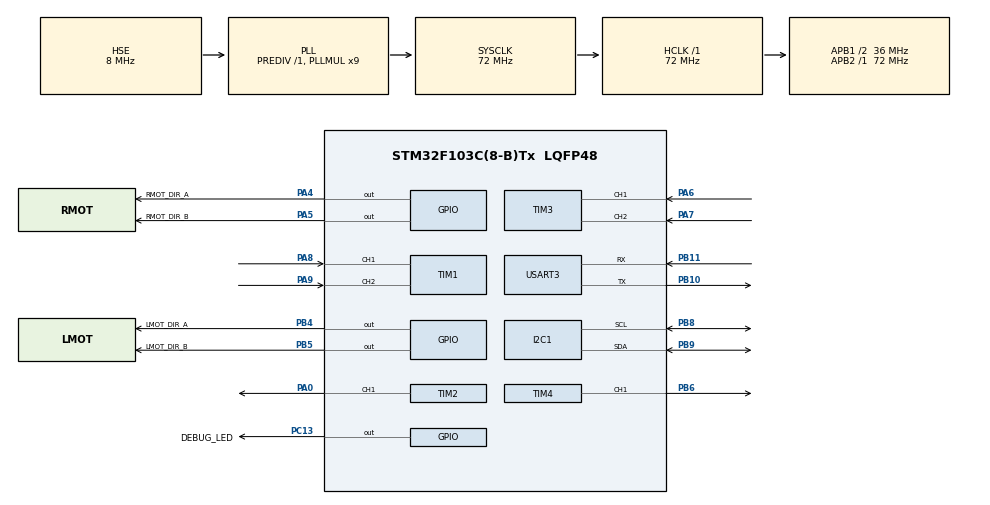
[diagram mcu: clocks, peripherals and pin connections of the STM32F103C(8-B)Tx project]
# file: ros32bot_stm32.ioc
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FREERTOS.Tasks01=defaultTask,8,128,StartDefaultTask,Default,NULL,Dynamic,NULL,NULL;motorControl,32,128,motorControlFunc,Default,NULL,Dynamic,NULL,NULL;uartComms,25,256,uartCommsFunc,Default,NULL,Dynamic,NULL,NULL;gyroTask,15,128,gyroTaskFunc,Default,NULL,Dynamic,NULL,NULL
FREERTOS.configUSE_NEWLIB_REENTRANT=0
Mcu.Family=STM32F1
Mcu.Name=STM32F103C(8-B)Tx
Mcu.Package=LQFP48
NVIC.PriorityGroup=NVIC_PRIORITYGROUP_4
PA0-WKUP.Signal=S_TIM2_CH1_ETR
PA13.Mode=Serial_Wire
PA13.Signal=SYS_JTMS-SWDIO
PA14.Mode=Serial_Wire
PA14.Signal=SYS_JTCK-SWCLK
PA4.GPIO_Label=RMOT_DIR_A
PA4.Signal=GPIO_Output
PA5.GPIO_Label=RMOT_DIR_B
PA5.Signal=GPIO_Output
PA6.Signal=S_TIM3_CH1
PA7.Signal=S_TIM3_CH2
PA8.Signal=S_TIM1_CH1
PA9.Signal=S_TIM1_CH2
PB10.Mode=Asynchronous
PB10.Signal=USART3_TX
PB11.Mode=Asynchronous
PB11.Signal=USART3_RX
PB4.GPIO_Label=LMOT_DIR_A
PB4.Signal=GPIO_Output
PB5.GPIO_Label=LMOT_DIR_B
PB5.Signal=GPIO_Output
PB6.Signal=S_TIM4_CH1
PB8.Mode=I2C
PB8.Signal=I2C1_SCL
PB9.Mode=I2C
PB9.Signal=I2C1_SDA
PC13-TAMPER-RTC.GPIO_Label=DEBUG_LED
PC13-TAMPER-RTC.Signal=GPIO_Output
PD0-OSC_IN.Mode=HSE-External-Oscillator
PD0-OSC_IN.Signal=RCC_OSC_IN
PD1-OSC_OUT.Mode=HSE-External-Oscillator
PD1-OSC_OUT.Signal=RCC_OSC_OUT
ProjectManager.HeapSize=0x200
ProjectManager.StackSize=0x400
ProjectManager.TargetToolchain=STM32CubeIDE
RCC.AHBFreq_Value=72000000
RCC.APB1CLKDivider=RCC_HCLK_DIV2
RCC.APB1Freq_Value=36000000
RCC.APB1TimFreq_Value=72000000
RCC.APB2Freq_Value=72000000
RCC.APB2TimFreq_Value=72000000
RCC.HCLKFreq_Value=72000000
RCC.PLLMUL=RCC_PLL_MUL9
RCC.PLLSourceVirtual=RCC_PLLSOURCE_HSE
RCC.SYSCLKFreq_VALUE=72000000
RCC.SYSCLKSource=RCC_SYSCLKSOURCE_PLLCLK
RCC.USBFreq_Value=72000000
SH.S_TIM1_CH1.0=TIM1_CH1,Encoder_Interface
SH.S_TIM1_CH2.0=TIM1_CH2,Encoder_Interface
SH.S_TIM2_CH1_ETR.0=TIM2_CH1,PWM Generation1 CH1
SH.S_TIM3_CH1.0=TIM3_CH1,Encoder_Interface
SH.S_TIM3_CH2.0=TIM3_CH2,Encoder_Interface
SH.S_TIM4_CH1.0=TIM4_CH1,PWM Generation1 CH1
TIM1.EncoderMode=TIM_ENCODERMODE_TI12
TIM1.IC1Filter=10
TIM2.Channel-PWM\ Generation1\ CH1=TIM_CHANNEL_1
TIM2.Period=35999
TIM3.EncoderMode=TIM_ENCODERMODE_TI12
TIM3.IC1Filter=10
TIM4.Channel-PWM\ Generation1\ CH1=TIM_CHANNEL_1
TIM4.Period=35999
USART3.VirtualMode=VM_ASYNC
VP_FREERTOS_VS_CMSIS_V2.Mode=CMSIS_V2
board=custom

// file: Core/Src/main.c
/* USER CODE BEGIN Header */
/**
  ******************************************************************************
  * @file           : main.c
  * @brief          : Main program body
  ******************************************************************************
  * @attention
  *
  * Copyright (c) 2026 STMicroelectronics.
  * All rights reserved.
  *
  * This software is licensed under terms that can be found in the LICENSE file
  * in the root directory of this software component.
  * If no LICENSE file comes with this software, it is provided AS-IS.
  *
  ******************************************************************************
  */
/* USER CODE END Header */
#include "main.h"
#include "cmsis_os.h"

/* USER CODE BEGIN Includes */
#include <stdio.h>
#include "motor.h"
#include "encoder.h"
#include "mpu6050.h"
#include "SEGGER_RTT.h"
#include "uart_comms.h"
#include "wheel_control.h"
/* USER CODE END Includes */

I2C_HandleTypeDef hi2c1;

TIM_HandleTypeDef htim1;
TIM_HandleTypeDef htim2;
TIM_HandleTypeDef htim3;
TIM_HandleTypeDef htim4;

UART_HandleTypeDef huart3;

/* Definitions for defaultTask */
osThreadId_t defaultTaskHandle;
/* Priority must stay ABOVE gyroTask (osPriorityLow7): gyroTask calls
   HAL_I2C_Mem_Read() with a 100 ms blocking timeout every 5 ms period, so a
   missing or wedged MPU6050 busy-waits the CPU and starves anything below it.
   The logger lives here, so it has to outrank the gyro or the log goes silent. */
const osThreadAttr_t defaultTask_attributes = {
  .name = "defaultTask",
  .stack_size = 128 * 4,
  .priority = (osPriority_t) osPriorityNormal,
};
/* Definitions for motorControl */
osThreadId_t motorControlHandle;
const osThreadAttr_t motorControl_attributes = {
  .name = "motorControl",
  .stack_size = 128 * 4,
  .priority = (osPriority_t) osPriorityAboveNormal,
};
/* Definitions for uartComms */
osThreadId_t uartCommsHandle;
const osThreadAttr_t uartComms_attributes = {
  .name = "uartComms",
  .stack_size = 256 * 4,
  .priority = (osPriority_t) osPriorityNormal1,
};
/* Definitions for gyroTask */
osThreadId_t gyroTaskHandle;
const osThreadAttr_t gyroTask_attributes = {
  .name = "gyroTask",
  .stack_size = 128 * 4,
  .priority = (osPriority_t) osPriorityLow7,
};
/* USER CODE BEGIN PV */
osMutexId_t i2c1MutexHandle;

const osMutexAttr_t i2c1Mutex_attributes = {
  .name = "i2c1Mutex",
  .attr_bits = osMutexPrioInherit,
};
/* USER CODE END PV */

void SystemClock_Config(void);
static void MX_GPIO_Init(void);
static void MX_TIM2_Init(void);
static void MX_TIM3_Init(void);
static void MX_TIM4_Init(void);
static void MX_TIM1_Init(void);
static void MX_I2C1_Init(void);
static void MX_USART3_UART_Init(void);
void StartDefaultTask(void *argument);
void motorControlFunc(void *argument);
void uartCommsFunc(void *argument);
void gyroTaskFunc(void *argument);

int main(void)
{

  /* MCU Configuration--------------------------------------------------------*/

  /* Reset of all peripherals, Initializes the Flash interface and the Systick. */
  HAL_Init();

  /* Configure the system clock */
  SystemClock_Config();

  /* Initialize all configured peripherals */
  MX_GPIO_Init();
  MX_TIM2_Init();
  MX_TIM3_Init();
  MX_TIM4_Init();
  MX_TIM1_Init();
  MX_I2C1_Init();
  MX_USART3_UART_Init();
  /* USER CODE BEGIN 2 */
  setvbuf(stdout, NULL, _IONBF, 0);
  SEGGER_RTT_Init();
  SEGGER_RTT_printf(0, "ros32bot: encoder debug over RTT\n");

  motor_init();
  encoder_init();
  wheel_control_init();
  /* USER CODE END 2 */

  /* Init scheduler */
  osKernelInitialize();

  /* USER CODE BEGIN RTOS_MUTEX */
  /* I2C1 is a shared resource, so its lock belongs to the bus, not a driver. */
  i2c1MutexHandle = osMutexNew(&i2c1Mutex_attributes);
  /* USER CODE END RTOS_MUTEX */

  /* Create the thread(s) */
  /* creation of defaultTask */
  defaultTaskHandle = osThreadNew(StartDefaultTask, NULL, &defaultTask_attributes);

  /* creation of motorControl */
  motorControlHandle = osThreadNew(motorControlFunc, NULL, &motorControl_attributes);

  /* creation of uartComms */
  uartCommsHandle = osThreadNew(uartCommsFunc, NULL, &uartComms_attributes);

  /* creation of gyroTask */
  gyroTaskHandle = osThreadNew(gyroTaskFunc, NULL, &gyroTask_attributes);

  /* Start scheduler */
  osKernelStart();

  /* We should never get here as control is now taken by the scheduler */

  /* Infinite loop */
  while (1)
  {

  }
}

void SystemClock_Config(void)
{
  RCC_OscInitTypeDef RCC_OscInitStruct = {0};
  RCC_ClkInitTypeDef RCC_ClkInitStruct = {0};

  /** Initializes the RCC Oscillators according to the specified parameters
  * in the RCC_OscInitTypeDef structure.
  */
  RCC_OscInitStruct.OscillatorType = RCC_OSCILLATORTYPE_HSE;
  RCC_OscInitStruct.HSEState = RCC_HSE_ON;
  RCC_OscInitStruct.HSEPredivValue = RCC_HSE_PREDIV_DIV1;
  RCC_OscInitStruct.HSIState = RCC_HSI_ON;
  RCC_OscInitStruct.PLL.PLLState = RCC_PLL_ON;
  RCC_OscInitStruct.PLL.PLLSource = RCC_PLLSOURCE_HSE;
  RCC_OscInitStruct.PLL.PLLMUL = RCC_PLL_MUL9;
  if (HAL_RCC_OscConfig(&RCC_OscInitStruct) != HAL_OK)
  {
    Error_Handler();
  }

  /** Initializes the CPU, AHB and APB buses clocks
  */
  RCC_ClkInitStruct.ClockType = RCC_CLOCKTYPE_HCLK|RCC_CLOCKTYPE_SYSCLK
                              |RCC_CLOCKTYPE_PCLK1|RCC_CLOCKTYPE_PCLK2;
  RCC_ClkInitStruct.SYSCLKSource = RCC_SYSCLKSOURCE_PLLCLK;
  RCC_ClkInitStruct.AHBCLKDivider = RCC_SYSCLK_DIV1;
  RCC_ClkInitStruct.APB1CLKDivider = RCC_HCLK_DIV2;
  RCC_ClkInitStruct.APB2CLKDivider = RCC_HCLK_DIV1;

  if (HAL_RCC_ClockConfig(&RCC_ClkInitStruct, FLASH_LATENCY_2) != HAL_OK)
  {
    Error_Handler();
  }
}

static void MX_I2C1_Init(void)
{

  hi2c1.Instance = I2C1;
  hi2c1.Init.ClockSpeed = 100000;
  hi2c1.Init.DutyCycle = I2C_DUTYCYCLE_2;
  hi2c1.Init.OwnAddress1 = 0;
  hi2c1.Init.AddressingMode = I2C_ADDRESSINGMODE_7BIT;
  hi2c1.Init.DualAddressMode = I2C_DUALADDRESS_DISABLE;
  hi2c1.Init.OwnAddress2 = 0;
  hi2c1.Init.GeneralCallMode = I2C_GENERALCALL_DISABLE;
  hi2c1.Init.NoStretchMode = I2C_NOSTRETCH_DISABLE;
  if (HAL_I2C_Init(&hi2c1) != HAL_OK)
  {
    Error_Handler();
  }

}

static void MX_TIM1_Init(void)
{

  TIM_Encoder_InitTypeDef sConfig = {0};
  TIM_MasterConfigTypeDef sMasterConfig = {0};

  htim1.Instance = TIM1;
  htim1.Init.Prescaler = 0;
  htim1.Init.CounterMode = TIM_COUNTERMODE_UP;
  htim1.Init.Period = 65535;
  htim1.Init.ClockDivision = TIM_CLOCKDIVISION_DIV1;
  htim1.Init.RepetitionCounter = 0;
  htim1.Init.AutoReloadPreload = TIM_AUTORELOAD_PRELOAD_DISABLE;
  sConfig.EncoderMode = TIM_ENCODERMODE_TI12;
  sConfig.IC1Polarity = TIM_ICPOLARITY_RISING;
  sConfig.IC1Selection = TIM_ICSELECTION_DIRECTTI;
  sConfig.IC1Prescaler = TIM_ICPSC_DIV1;
  sConfig.IC1Filter = 10;
  sConfig.IC2Polarity = TIM_ICPOLARITY_RISING;
  sConfig.IC2Selection = TIM_ICSELECTION_DIRECTTI;
  sConfig.IC2Prescaler = TIM_ICPSC_DIV1;
  sConfig.IC2Filter = 0;
  if (HAL_TIM_Encoder_Init(&htim1, &sConfig) != HAL_OK)
  {
    Error_Handler();
  }
  sMasterConfig.MasterOutputTrigger = TIM_TRGO_RESET;
  sMasterConfig.MasterSlaveMode = TIM_MASTERSLAVEMODE_DISABLE;
  if (HAL_TIMEx_MasterConfigSynchronization(&htim1, &sMasterConfig) != HAL_OK)
  {
    Error_Handler();
  }

}

static void MX_TIM2_Init(void)
{

  TIM_MasterConfigTypeDef sMasterConfig = {0};
  TIM_OC_InitTypeDef sConfigOC = {0};

  htim2.Instance = TIM2;
  htim2.Init.Prescaler = 0;
  htim2.Init.CounterMode = TIM_COUNTERMODE_UP;
  htim2.Init.Period = 35999;
  htim2.Init.ClockDivision = TIM_CLOCKDIVISION_DIV1;
  htim2.Init.AutoReloadPreload = TIM_AUTORELOAD_PRELOAD_DISABLE;
  if (HAL_TIM_PWM_Init(&htim2) != HAL_OK)
  {
    Error_Handler();
  }
  sMasterConfig.MasterOutputTrigger = TIM_TRGO_RESET;
  sMasterConfig.MasterSlaveMode = TIM_MASTERSLAVEMODE_DISABLE;
  if (HAL_TIMEx_MasterConfigSynchronization(&htim2, &sMasterConfig) != HAL_OK)
  {
    Error_Handler();
  }
  sConfigOC.OCMode = TIM_OCMODE_PWM1;
  sConfigOC.Pulse = 0;
  sConfigOC.OCPolarity = TIM_OCPOLARITY_HIGH;
  sConfigOC.OCFastMode = TIM_OCFAST_DISABLE;
  if (HAL_TIM_PWM_ConfigChannel(&htim2, &sConfigOC, TIM_CHANNEL_1) != HAL_OK)
  {
    Error_Handler();
  }
  HAL_TIM_MspPostInit(&htim2);

}

static void MX_TIM3_Init(void)
{

  TIM_Encoder_InitTypeDef sConfig = {0};
  TIM_MasterConfigTypeDef sMasterConfig = {0};

  htim3.Instance = TIM3;
  htim3.Init.Prescaler = 0;
  htim3.Init.CounterMode = TIM_COUNTERMODE_UP;
  htim3.Init.Period = 65535;
  htim3.Init.ClockDivision = TIM_CLOCKDIVISION_DIV1;
  htim3.Init.AutoReloadPreload = TIM_AUTORELOAD_PRELOAD_DISABLE;
  sConfig.EncoderMode = TIM_ENCODERMODE_TI12;
  sConfig.IC1Polarity = TIM_ICPOLARITY_RISING;
  sConfig.IC1Selection = TIM_ICSELECTION_DIRECTTI;
  sConfig.IC1Prescaler = TIM_ICPSC_DIV1;
  sConfig.IC1Filter = 10;
  sConfig.IC2Polarity = TIM_ICPOLARITY_RISING;
  sConfig.IC2Selection = TIM_ICSELECTION_DIRECTTI;
  sConfig.IC2Prescaler = TIM_ICPSC_DIV1;
  sConfig.IC2Filter = 0;
  if (HAL_TIM_Encoder_Init(&htim3, &sConfig) != HAL_OK)
  {
    Error_Handler();
  }
  sMasterConfig.MasterOutputTrigger = TIM_TRGO_RESET;
  sMasterConfig.MasterSlaveMode = TIM_MASTERSLAVEMODE_DISABLE;
  if (HAL_TIMEx_MasterConfigSynchronization(&htim3, &sMasterConfig) != HAL_OK)
  {
    Error_Handler();
  }

}

static void MX_TIM4_Init(void)
{

  TIM_MasterConfigTypeDef sMasterConfig = {0};
  TIM_OC_InitTypeDef sConfigOC = {0};

  htim4.Instance = TIM4;
  htim4.Init.Prescaler = 0;
  htim4.Init.CounterMode = TIM_COUNTERMODE_UP;
  htim4.Init.Period = 35999;
  htim4.Init.ClockDivision = TIM_CLOCKDIVISION_DIV1;
  htim4.Init.AutoReloadPreload = TIM_AUTORELOAD_PRELOAD_DISABLE;
  if (HAL_TIM_PWM_Init(&htim4) != HAL_OK)
  {
    Error_Handler();
  }
  sMasterConfig.MasterOutputTrigger = TIM_TRGO_RESET;
  sMasterConfig.MasterSlaveMode = TIM_MASTERSLAVEMODE_DISABLE;
  if (HAL_TIMEx_MasterConfigSynchronization(&htim4, &sMasterConfig) != HAL_OK)
  {
    Error_Handler();
  }
  sConfigOC.OCMode = TIM_OCMODE_PWM1;
  sConfigOC.Pulse = 0;
  sConfigOC.OCPolarity = TIM_OCPOLARITY_HIGH;
  sConfigOC.OCFastMode = TIM_OCFAST_DISABLE;
  if (HAL_TIM_PWM_ConfigChannel(&htim4, &sConfigOC, TIM_CHANNEL_1) != HAL_OK)
  {
    Error_Handler();
  }
  HAL_TIM_MspPostInit(&htim4);

}

static void MX_USART3_UART_Init(void)
{

  huart3.Instance = USART3;
  huart3.Init.BaudRate = 115200;
  huart3.Init.WordLength = UART_WORDLENGTH_8B;
  huart3.Init.StopBits = UART_STOPBITS_1;
  huart3.Init.Parity = UART_PARITY_NONE;
  huart3.Init.Mode = UART_MODE_TX_RX;
  huart3.Init.HwFlowCtl = UART_HWCONTROL_NONE;
  huart3.Init.OverSampling = UART_OVERSAMPLING_16;
  if (HAL_UART_Init(&huart3) != HAL_OK)
  {
    Error_Handler();
  }

}

static void MX_GPIO_Init(void)
{
  GPIO_InitTypeDef GPIO_InitStruct = {0};

  /* GPIO Ports Clock Enable */
  __HAL_RCC_GPIOC_CLK_ENABLE();
  __HAL_RCC_GPIOD_CLK_ENABLE();
  __HAL_RCC_GPIOA_CLK_ENABLE();
  __HAL_RCC_GPIOB_CLK_ENABLE();

  /*Configure GPIO pin Output Level */
  HAL_GPIO_WritePin(DEBUG_LED_GPIO_Port, DEBUG_LED_Pin, GPIO_PIN_RESET);

  /*Configure GPIO pin Output Level */
  HAL_GPIO_WritePin(GPIOA, RMOT_DIR_A_Pin|RMOT_DIR_B_Pin, GPIO_PIN_RESET);

  /*Configure GPIO pin Output Level */
  HAL_GPIO_WritePin(GPIOB, LMOT_DIR_A_Pin|LMOT_DIR_B_Pin, GPIO_PIN_RESET);

  /*Configure GPIO pin : DEBUG_LED_Pin */
  GPIO_InitStruct.Pin = DEBUG_LED_Pin;
  GPIO_InitStruct.Mode = GPIO_MODE_OUTPUT_PP;
  GPIO_InitStruct.Pull = GPIO_NOPULL;
  GPIO_InitStruct.Speed = GPIO_SPEED_FREQ_LOW;
  HAL_GPIO_Init(DEBUG_LED_GPIO_Port, &GPIO_InitStruct);

  /*Configure GPIO pins : RMOT_DIR_A_Pin RMOT_DIR_B_Pin */
  GPIO_InitStruct.Pin = RMOT_DIR_A_Pin|RMOT_DIR_B_Pin;
  GPIO_InitStruct.Mode = GPIO_MODE_OUTPUT_PP;
  GPIO_InitStruct.Pull = GPIO_NOPULL;
  GPIO_InitStruct.Speed = GPIO_SPEED_FREQ_LOW;
  HAL_GPIO_Init(GPIOA, &GPIO_InitStruct);

  /*Configure GPIO pins : LMOT_DIR_A_Pin LMOT_DIR_B_Pin */
  GPIO_InitStruct.Pin = LMOT_DIR_A_Pin|LMOT_DIR_B_Pin;
  GPIO_InitStruct.Mode = GPIO_MODE_OUTPUT_PP;
  GPIO_InitStruct.Pull = GPIO_NOPULL;
  GPIO_InitStruct.Speed = GPIO_SPEED_FREQ_LOW;
  HAL_GPIO_Init(GPIOB, &GPIO_InitStruct);

}

/* USER CODE BEGIN 4 */

int _write(int file, char *ptr, int len)
{
  (void)file;
  SEGGER_RTT_Write(0, (const void *)ptr, len);
  return len;
}

/* USER CODE END 4 */

void StartDefaultTask(void *argument)
{
  /* USER CODE BEGIN 5 */
  wheel_state_t left;
  wheel_state_t right;

  /* Infinite loop */
  for(;;)
  {
    wheel_control_get_state(MOTOR_LEFT, &left);
    wheel_control_get_state(MOTOR_RIGHT, &right);

    printf("whl  L tgt=%6ld meas=%6ld duty=%5d  |  R tgt=%6ld meas=%6ld duty=%5d  [crad/s, permille]\r\n",
           (long)(left.target * WHEEL_VEL_CRAD_PER_RAD),
           (long)(left.meas * WHEEL_VEL_CRAD_PER_RAD),
           (int)left.duty,
           (long)(right.target * WHEEL_VEL_CRAD_PER_RAD),
           (long)(right.meas * WHEEL_VEL_CRAD_PER_RAD),
           (int)right.duty);

    osDelay(100);
  }
  /* USER CODE END 5 */
}

void motorControlFunc(void *argument)
{
  /* USER CODE BEGIN motorControlFunc */
  /* The Arduino's loop rate, so those PID gains carry over as tuned. */
  const uint32_t period = 100U;
  uint32_t wake = osKernelGetTickCount();

  for(;;)
  {
    encoder_update(period);
    wheel_control_update(period);

    wake += period;
    osDelayUntil(wake);
  }
  /* USER CODE END motorControlFunc */
}

void uartCommsFunc(void *argument)
{
  /* USER CODE BEGIN uartCommsFunc */
  uart_comms_task(argument);
  /* USER CODE END uartCommsFunc */
}

void gyroTaskFunc(void *argument)
{
  /* USER CODE BEGIN gyroTaskFunc */
  const uint32_t period = 5U;
  uint32_t wake = osKernelGetTickCount();

  /* The task that owns the sensor initialises it, so no HAL call races the scheduler. */
  while (!mpu6050_init(i2c1MutexHandle))
  {
    SEGGER_RTT_printf(0, "mpu6050: init failed, retrying\r\n");
    osDelay(500);
  }

  SEGGER_RTT_printf(0, "mpu6050: ready\r\n");

  /* Infinite loop */
  for(;;)
  {
    (void)mpu6050_update();

    wake += period;
    osDelayUntil(wake);
  }
  /* USER CODE END gyroTaskFunc */
}

void Error_Handler(void)
{
  __disable_irq();
  while (1)
  {
  }
}
